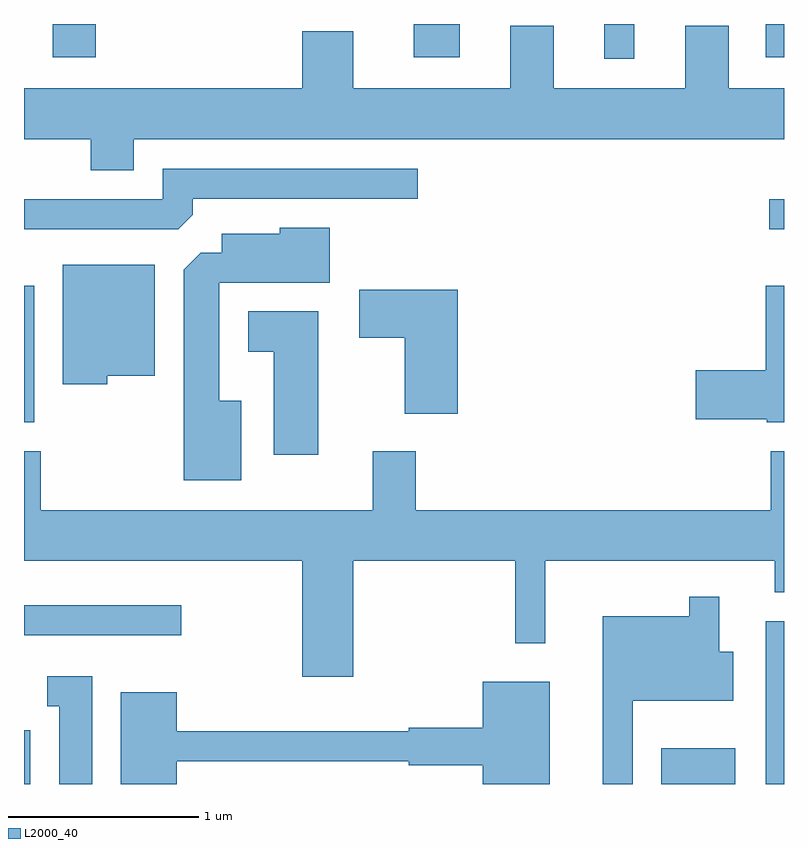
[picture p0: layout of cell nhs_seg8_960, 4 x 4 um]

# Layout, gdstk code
import gdstk
lib = gdstk.Library(unit=1e-6, precision=1e-09)
def R(c, l, rs):  # rectangles x0, y0, x1, y1
    for r in rs: c.add(gdstk.rectangle(r[:2], r[2:], *l))
def P(c, l, *ps):  # polygons
    for p in ps: c.add(gdstk.Polygon(p, *l))
L2000_40 = (2000, 40)

nhs_seg8_960 = lib.new_cell('nhs_seg8_960')
R(nhs_seg8_960, L2000_40, [(213.611,1846.342,213.644,1846.624), (216.966,1846.342,217.354,1846.529), (217.516,1846.342,217.611,1847.199), (213.611,1847.126,214.438,1847.284), (213.611,1848.246,213.664,1848.964), (217.533,1849.261,217.611,1849.419), (216.666,1850.158,216.824,1850.342), (213.761,1850.166,213.989,1850.342), (215.661,1850.166,215.904,1850.342), (217.516,1850.166,217.611,1850.342)])
P(nhs_seg8_960, L2000_40, [(214.189,1849.736),(217.611,1849.736),(217.611,1850.004),(217.319,1850.004),(217.319,1850.334),(217.091,1850.334),(217.091,1850.004),(216.399,1850.004),(216.399,1850.334),(216.171,1850.334),(216.171,1850.004),(215.344,1850.004),(215.344,1850.304),(215.076,1850.304),(215.076,1850.004),(213.611,1850.004),(213.611,1849.736),(213.961,1849.736),(213.961,1849.571),(214.189,1849.571)],
  [(214.499,1849.337),(214.499,1849.421),(215.683,1849.421),(215.683,1849.579),(214.341,1849.579),(214.341,1849.419),(213.611,1849.419),(213.611,1849.261),(214.424,1849.261)],
  [(214.754,1848.359),(214.639,1848.359),(214.639,1848.981),(215.219,1848.981),(215.219,1849.269),(214.956,1849.269),(214.956,1849.239),(214.651,1849.239),(214.651,1849.139),(214.542,1849.139),(214.451,1849.049),(214.451,1847.941),(214.754,1847.941)],
  [(214.049,1848.491),(214.299,1848.491),(214.299,1849.074),(213.816,1849.074),(213.816,1848.446),(214.049,1848.446)],
  [(217.611,1848.964),(217.516,1848.964),(217.516,1848.519),(217.146,1848.519),(217.146,1848.261),(217.52,1848.261),(217.52,1848.246),(217.611,1848.246)],
  [(215.894,1848.944),(215.376,1848.944),(215.376,1848.691),(215.616,1848.691),(215.616,1848.291),(215.894,1848.291)],
  [(215.159,1848.829),(214.791,1848.829),(214.791,1848.616),(214.926,1848.616),(214.926,1848.076),(215.159,1848.076)],
  [(215.344,1847.516),(216.196,1847.516),(216.196,1847.083),(216.354,1847.083),(216.354,1847.516),(217.561,1847.516),(217.561,1847.351),(217.611,1847.351),(217.611,1848.094),(217.541,1848.094),(217.541,1847.784),(215.674,1847.784),(215.674,1848.094),(215.446,1848.094),(215.446,1847.784),(213.699,1847.784),(213.699,1848.094),(213.611,1848.094),(213.611,1847.516),(215.076,1847.516),(215.076,1846.906),(215.344,1846.906)],
  [(216.814,1846.781),(217.344,1846.781),(217.344,1847.039),(217.269,1847.039),(217.269,1847.328),(217.111,1847.328),(217.111,1847.224),(216.656,1847.224),(216.656,1846.342),(216.814,1846.342)],
  [(213.969,1846.909),(213.733,1846.909),(213.733,1846.751),(213.796,1846.751),(213.796,1846.342),(213.969,1846.342)],
  [(214.414,1846.461),(215.636,1846.461),(215.636,1846.441),(216.026,1846.441),(216.026,1846.342),(216.379,1846.342),(216.379,1846.879),(216.026,1846.879),(216.026,1846.639),(215.636,1846.639),(215.636,1846.619),(214.414,1846.619),(214.414,1846.824),(214.121,1846.824),(214.121,1846.342),(214.414,1846.342)])

lib.write_gds('nhs_seg8_960.gds')
